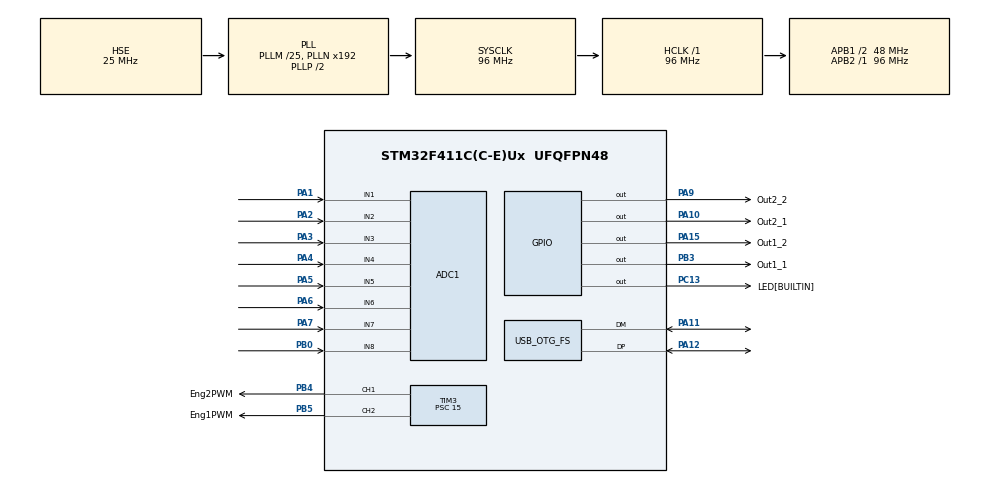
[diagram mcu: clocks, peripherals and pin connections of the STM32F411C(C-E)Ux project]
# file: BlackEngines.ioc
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ADC1.Channel-0\#ChannelRegularConversion=ADC_CHANNEL_1
ADC1.NbrOfConversionFlag=1
ADC1.Rank-0\#ChannelRegularConversion=1
ADC1.SamplingTime-0\#ChannelRegularConversion=ADC_SAMPLETIME_3CYCLES
ADC1.master=1
Mcu.Family=STM32F4
Mcu.Name=STM32F411C(C-E)Ux
Mcu.Package=UFQFPN48
NVIC.ADC_IRQn=true\:0\:0\:false\:false\:true\:true\:true\:true
NVIC.OTG_FS_IRQn=true\:0\:0\:false\:false\:true\:false\:true\:true
NVIC.PriorityGroup=NVIC_PRIORITYGROUP_4
NVIC.TIM1_TRG_COM_TIM11_IRQn=true\:0\:0\:false\:false\:true\:true\:true\:true
NVIC.TIM3_IRQn=true\:0\:0\:false\:false\:true\:true\:true\:true
PA1.Signal=ADCx_IN1
PA10.GPIO_Label=Out2_1
PA10.Signal=GPIO_Output
PA11.Mode=Device_Only
PA11.Signal=USB_OTG_FS_DM
PA12.Mode=Device_Only
PA12.Signal=USB_OTG_FS_DP
PA13.Mode=Serial_Wire
PA13.Signal=SYS_JTMS-SWDIO
PA14.Mode=Serial_Wire
PA14.Signal=SYS_JTCK-SWCLK
PA15.GPIO_Label=Out1_2
PA15.Signal=GPIO_Output
PA2.Signal=ADCx_IN2
PA3.Signal=ADCx_IN3
PA4.Signal=ADCx_IN4
PA5.Signal=ADCx_IN5
PA6.Signal=ADCx_IN6
PA7.Signal=ADCx_IN7
PA9.GPIO_Label=Out2_2
PA9.Signal=GPIO_Output
PB0.Signal=ADCx_IN8
PB3.GPIO_Label=Out1_1
PB3.Signal=GPIO_Output
PB4.GPIO_Label=Eng2PWM
PB4.Signal=S_TIM3_CH1
PB5.GPIO_Label=Eng1PWM
PB5.Signal=S_TIM3_CH2
PC13-ANTI_TAMP.GPIO_Label=LED[BUILTIN]
PC13-ANTI_TAMP.Signal=GPIO_Output
PC14-OSC32_IN.Mode=LSE-External-Oscillator
PC14-OSC32_IN.Signal=RCC_OSC32_IN
PC15-OSC32_OUT.Mode=LSE-External-Oscillator
PC15-OSC32_OUT.Signal=RCC_OSC32_OUT
PH0\ -\ OSC_IN.Mode=HSE-External-Oscillator
PH0\ -\ OSC_IN.Signal=RCC_OSC_IN
PH1\ -\ OSC_OUT.Mode=HSE-External-Oscillator
PH1\ -\ OSC_OUT.Signal=RCC_OSC_OUT
ProjectManager.HeapSize=0x200
ProjectManager.StackSize=0x400
ProjectManager.TargetToolchain=STM32CubeIDE
RCC.48MHZClocksFreq_Value=48000000
RCC.AHBFreq_Value=96000000
RCC.APB1CLKDivider=RCC_HCLK_DIV2
RCC.APB1Freq_Value=48000000
RCC.APB1TimFreq_Value=96000000
RCC.APB2Freq_Value=96000000
RCC.APB2TimFreq_Value=96000000
RCC.CortexFreq_Value=96000000
RCC.HCLKFreq_Value=96000000
RCC.HSE_VALUE=25000000
RCC.HSI_VALUE=16000000
RCC.PLLM=25
RCC.SYSCLKFreq_VALUE=96000000
RCC.SYSCLKSource=RCC_SYSCLKSOURCE_PLLCLK
RCC.VCOOutputFreq_Value=192000000
SH.ADCx_IN1.0=ADC1_IN1,IN1
SH.ADCx_IN2.0=ADC1_IN2,IN2
SH.ADCx_IN3.0=ADC1_IN3,IN3
SH.ADCx_IN4.0=ADC1_IN4,IN4
SH.ADCx_IN5.0=ADC1_IN5,IN5
SH.ADCx_IN6.0=ADC1_IN6,IN6
SH.ADCx_IN7.0=ADC1_IN7,IN7
SH.ADCx_IN8.0=ADC1_IN8,IN8
SH.S_TIM3_CH1.0=TIM3_CH1,PWM Generation1 CH1
SH.S_TIM3_CH2.0=TIM3_CH2,PWM Generation2 CH2
TIM11.Period=9999
TIM11.Prescaler=95
TIM3.Channel-PWM\ Generation1\ CH1=TIM_CHANNEL_1
TIM3.Channel-PWM\ Generation2\ CH2=TIM_CHANNEL_2
TIM3.OCPolarity_1=TIM_OCPOLARITY_HIGH
TIM3.OCPolarity_2=TIM_OCPOLARITY_HIGH
TIM3.Period=59999
TIM3.Prescaler=15
USB_DEVICE.APP_RX_DATA_SIZE=512
USB_DEVICE.APP_TX_DATA_SIZE=512
USB_DEVICE.CLASS_NAME_FS=CDC
USB_DEVICE.VirtualMode=Cdc
USB_DEVICE.VirtualModeFS=Cdc_FS
USB_OTG_FS.VirtualMode=Device_Only
VP_TIM11_VS_ClockSourceINT.Mode=Enable_Timer
VP_TIM3_VS_ClockSourceINT.Mode=Internal
VP_USB_DEVICE_VS_USB_DEVICE_CDC_FS.Mode=CDC_FS
board=custom

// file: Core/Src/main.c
/* USER CODE BEGIN Header */
/**
  ******************************************************************************
  * @file           : main.c
  * @brief          : Main program body
  ******************************************************************************
  * @attention
  *
  * Copyright (c) 2025 STMicroelectronics.
  * All rights reserved.
  *
  * This software is licensed under terms that can be found in the LICENSE file
  * in the root directory of this software component.
  * If no LICENSE file comes with this software, it is provided AS-IS.
  *
  ******************************************************************************
  */
/* USER CODE END Header */
#include "main.h"
#include "usb_device.h"

/* USER CODE BEGIN Includes */
#include "UnerProtocol.h"
#include "engines.h"
#include "Utilities.h"
/* USER CODE END Includes */

/* USER CODE BEGIN PD */
#define NUM_CHANNELS 8
#define RINGBUFFER 256
#define IS10MS myFlags.individualFlags.bit1
/* USER CODE END PD */

ADC_HandleTypeDef hadc1;

TIM_HandleTypeDef htim3;
TIM_HandleTypeDef htim11;

/* USER CODE BEGIN PV */
_sDato datosComSerie;
uint16_t adcBuffer[NUM_CHANNELS];
_bFlags myFlags;
_sEng motorL,motorR;
/* USER CODE END PV */

void SystemClock_Config(void);
static void MX_GPIO_Init(void);
static void MX_TIM3_Init(void);
static void MX_TIM11_Init(void);
static void MX_ADC1_Init(void);
/* USER CODE BEGIN PFP */
uint8_t CDC_Transmit_FS(uint8_t *buf, uint16_t leng);  // Envia una letra
void CDC_AttachRxData(void (*ptrRxAttach)(uint8_t *buf, uint16_t len));
void HAL_ADC_ConvCpltCallback(ADC_HandleTypeDef* hadc);
void HAL_TIM_PeriodElapsedCallback(TIM_HandleTypeDef *htim);
/* USER CODE END PFP */

/* USER CODE BEGIN 0 */
void HAL_ADC_ConvCpltCallback(ADC_HandleTypeDef* hadc){

	uint8_t u=0;
	char palabra[18];

	for(u=0;u<NUM_CHANNELS;u++){

//		casts.u16[0]=adcBuffer[u];
		sprintf(&palabra[0],"Channel %d:%i\n",u,adcBuffer[u]);
//		memcpy(datosComSerie.bufferTx,palabra,sizeof(palabra));
//		datosComSerie.indexWriteTx  += sizeof(palabra);
	}
	HAL_GPIO_TogglePin(LED_GPIO_Port, LED_Pin);
}

void HAL_TIM_PeriodElapsedCallback(TIM_HandleTypeDef *htim){
	if (htim->Instance == TIM11) {
		IS10MS = TRUE;
	}
}
/* USER CODE END 0 */

int main(void)
{

  /* USER CODE BEGIN 1 */
	uint8_t counter=0;
	uint8_t DMAcounter=0;
  /* USER CODE END 1 */

  /* MCU Configuration--------------------------------------------------------*/

  /* Reset of all peripherals, Initializes the Flash interface and the Systick. */
  HAL_Init();

  /* USER CODE BEGIN Init */
   CDC_AttachRxData(&UP_datafromUSB);
   myFlags.allFlags=0;
   UP_initprotocol(&datosComSerie,(uint8_t)RINGBUFFER);
  /* USER CODE END Init */

  /* Configure the system clock */
  SystemClock_Config();

  /* Initialize all configured peripherals */
  MX_GPIO_Init();
  MX_USB_DEVICE_Init();
  MX_TIM3_Init();
  MX_TIM11_Init();
  MX_ADC1_Init();
  /* USER CODE BEGIN 2 */
  HAL_TIM_Base_Start_IT(&htim3);
  HAL_TIM_Base_Start_IT(&htim11);

  HAL_TIM_PWM_Start(&htim3, TIM_CHANNEL_2);
  HAL_TIM_PWM_Start(&htim3, TIM_CHANNEL_1);

  HAL_GPIO_WritePin(Eng1PWM_GPIO_Port, Eng1PWM_Pin, 0);
  HAL_GPIO_WritePin(Eng2PWM_GPIO_Port, Eng2PWM_Pin, 0);
  /* USER CODE END 2 */

  /* Infinite loop */
  while (1)
  {

    /* USER CODE BEGIN 3 */
	UP_comunicationsTask(&datosComSerie);
  }
  /* USER CODE END 3 */
}

void SystemClock_Config(void)
{
  RCC_OscInitTypeDef RCC_OscInitStruct = {0};
  RCC_ClkInitTypeDef RCC_ClkInitStruct = {0};

  /** Configure the main internal regulator output voltage
  */
  __HAL_RCC_PWR_CLK_ENABLE();
  __HAL_PWR_VOLTAGESCALING_CONFIG(PWR_REGULATOR_VOLTAGE_SCALE1);

  /** Initializes the RCC Oscillators according to the specified parameters
  * in the RCC_OscInitTypeDef structure.
  */
  RCC_OscInitStruct.OscillatorType = RCC_OSCILLATORTYPE_HSE;
  RCC_OscInitStruct.HSEState = RCC_HSE_ON;
  RCC_OscInitStruct.PLL.PLLState = RCC_PLL_ON;
  RCC_OscInitStruct.PLL.PLLSource = RCC_PLLSOURCE_HSE;
  RCC_OscInitStruct.PLL.PLLM = 25;
  RCC_OscInitStruct.PLL.PLLN = 192;
  RCC_OscInitStruct.PLL.PLLP = RCC_PLLP_DIV2;
  RCC_OscInitStruct.PLL.PLLQ = 4;
  if (HAL_RCC_OscConfig(&RCC_OscInitStruct) != HAL_OK)
  {
    Error_Handler();
  }

  /** Initializes the CPU, AHB and APB buses clocks
  */
  RCC_ClkInitStruct.ClockType = RCC_CLOCKTYPE_HCLK|RCC_CLOCKTYPE_SYSCLK
                              |RCC_CLOCKTYPE_PCLK1|RCC_CLOCKTYPE_PCLK2;
  RCC_ClkInitStruct.SYSCLKSource = RCC_SYSCLKSOURCE_PLLCLK;
  RCC_ClkInitStruct.AHBCLKDivider = RCC_SYSCLK_DIV1;
  RCC_ClkInitStruct.APB1CLKDivider = RCC_HCLK_DIV2;
  RCC_ClkInitStruct.APB2CLKDivider = RCC_HCLK_DIV1;

  if (HAL_RCC_ClockConfig(&RCC_ClkInitStruct, FLASH_LATENCY_3) != HAL_OK)
  {
    Error_Handler();
  }
}

static void MX_ADC1_Init(void)
{

  ADC_ChannelConfTypeDef sConfig = {0};

  /** Configure the global features of the ADC (Clock, Resolution, Data Alignment and number of conversion)
  */
  hadc1.Instance = ADC1;
  hadc1.Init.ClockPrescaler = ADC_CLOCK_SYNC_PCLK_DIV4;
  hadc1.Init.Resolution = ADC_RESOLUTION_12B;
  hadc1.Init.ScanConvMode = DISABLE;
  hadc1.Init.ContinuousConvMode = DISABLE;
  hadc1.Init.DiscontinuousConvMode = DISABLE;
  hadc1.Init.ExternalTrigConvEdge = ADC_EXTERNALTRIGCONVEDGE_NONE;
  hadc1.Init.ExternalTrigConv = ADC_SOFTWARE_START;
  hadc1.Init.DataAlign = ADC_DATAALIGN_RIGHT;
  hadc1.Init.NbrOfConversion = 1;
  hadc1.Init.DMAContinuousRequests = DISABLE;
  hadc1.Init.EOCSelection = ADC_EOC_SINGLE_CONV;
  if (HAL_ADC_Init(&hadc1) != HAL_OK)
  {
    Error_Handler();
  }

  /** Configure for the selected ADC regular channel its corresponding rank in the sequencer and its sample time.
  */
  sConfig.Channel = ADC_CHANNEL_1;
  sConfig.Rank = 1;
  sConfig.SamplingTime = ADC_SAMPLETIME_3CYCLES;
  if (HAL_ADC_ConfigChannel(&hadc1, &sConfig) != HAL_OK)
  {
    Error_Handler();
  }

}

static void MX_TIM3_Init(void)
{

  TIM_ClockConfigTypeDef sClockSourceConfig = {0};
  TIM_MasterConfigTypeDef sMasterConfig = {0};
  TIM_OC_InitTypeDef sConfigOC = {0};

  htim3.Instance = TIM3;
  htim3.Init.Prescaler = 100;
  htim3.Init.CounterMode = TIM_COUNTERMODE_UP;
  htim3.Init.Period = 9599;
  htim3.Init.ClockDivision = TIM_CLOCKDIVISION_DIV1;
  htim3.Init.AutoReloadPreload = TIM_AUTORELOAD_PRELOAD_DISABLE;
  if (HAL_TIM_Base_Init(&htim3) != HAL_OK)
  {
    Error_Handler();
  }
  sClockSourceConfig.ClockSource = TIM_CLOCKSOURCE_INTERNAL;
  if (HAL_TIM_ConfigClockSource(&htim3, &sClockSourceConfig) != HAL_OK)
  {
    Error_Handler();
  }
  if (HAL_TIM_PWM_Init(&htim3) != HAL_OK)
  {
    Error_Handler();
  }
  sMasterConfig.MasterOutputTrigger = TIM_TRGO_RESET;
  sMasterConfig.MasterSlaveMode = TIM_MASTERSLAVEMODE_DISABLE;
  if (HAL_TIMEx_MasterConfigSynchronization(&htim3, &sMasterConfig) != HAL_OK)
  {
    Error_Handler();
  }
  sConfigOC.OCMode = TIM_OCMODE_PWM1;
  sConfigOC.Pulse = 0;
  sConfigOC.OCPolarity = TIM_OCPOLARITY_LOW;
  sConfigOC.OCFastMode = TIM_OCFAST_DISABLE;
  if (HAL_TIM_PWM_ConfigChannel(&htim3, &sConfigOC, TIM_CHANNEL_1) != HAL_OK)
  {
    Error_Handler();
  }
  if (HAL_TIM_PWM_ConfigChannel(&htim3, &sConfigOC, TIM_CHANNEL_2) != HAL_OK)
  {
    Error_Handler();
  }
  HAL_TIM_MspPostInit(&htim3);

}

static void MX_TIM11_Init(void)
{

  htim11.Instance = TIM11;
  htim11.Init.Prescaler = 19200;
  htim11.Init.CounterMode = TIM_COUNTERMODE_UP;
  htim11.Init.Period = 49999;
  htim11.Init.ClockDivision = TIM_CLOCKDIVISION_DIV1;
  htim11.Init.AutoReloadPreload = TIM_AUTORELOAD_PRELOAD_DISABLE;
  if (HAL_TIM_Base_Init(&htim11) != HAL_OK)
  {
    Error_Handler();
  }

}

static void MX_GPIO_Init(void)
{
  GPIO_InitTypeDef GPIO_InitStruct = {0};

  /* GPIO Ports Clock Enable */
  __HAL_RCC_GPIOC_CLK_ENABLE();
  __HAL_RCC_GPIOH_CLK_ENABLE();
  __HAL_RCC_GPIOA_CLK_ENABLE();
  __HAL_RCC_GPIOB_CLK_ENABLE();

  /*Configure GPIO pin Output Level */
  HAL_GPIO_WritePin(LED_GPIO_Port, LED_Pin, GPIO_PIN_RESET);

  /*Configure GPIO pin Output Level */
  HAL_GPIO_WritePin(GPIOA, Out2_2_Pin|Out2_1_Pin|Out1_2_Pin, GPIO_PIN_RESET);

  /*Configure GPIO pin Output Level */
  HAL_GPIO_WritePin(Out1_1_GPIO_Port, Out1_1_Pin, GPIO_PIN_RESET);

  /*Configure GPIO pin : LED_Pin */
  GPIO_InitStruct.Pin = LED_Pin;
  GPIO_InitStruct.Mode = GPIO_MODE_OUTPUT_PP;
  GPIO_InitStruct.Pull = GPIO_NOPULL;
  GPIO_InitStruct.Speed = GPIO_SPEED_FREQ_LOW;
  HAL_GPIO_Init(LED_GPIO_Port, &GPIO_InitStruct);

  /*Configure GPIO pins : Out2_2_Pin Out2_1_Pin Out1_2_Pin */
  GPIO_InitStruct.Pin = Out2_2_Pin|Out2_1_Pin|Out1_2_Pin;
  GPIO_InitStruct.Mode = GPIO_MODE_OUTPUT_PP;
  GPIO_InitStruct.Pull = GPIO_NOPULL;
  GPIO_InitStruct.Speed = GPIO_SPEED_FREQ_LOW;
  HAL_GPIO_Init(GPIOA, &GPIO_InitStruct);

  /*Configure GPIO pin : Out1_1_Pin */
  GPIO_InitStruct.Pin = Out1_1_Pin;
  GPIO_InitStruct.Mode = GPIO_MODE_OUTPUT_PP;
  GPIO_InitStruct.Pull = GPIO_NOPULL;
  GPIO_InitStruct.Speed = GPIO_SPEED_FREQ_LOW;
  HAL_GPIO_Init(Out1_1_GPIO_Port, &GPIO_InitStruct);

}

/* USER CODE BEGIN 4 */
void UP_comunicationsTask(_sDato *datosCom){

	if(datosCom->indexReadRx!=datosCom->indexWriteRx ){
		UP_decodeHeader(datosCom);
		datosCom->indexReadRx=datosCom->indexWriteRx;
	}

	if(datosCom->indexReadTx!=datosCom->indexWriteTx ){

		if(datosCom->indexWriteTx > datosCom->indexReadTx){
				datosCom->bytesTosend = datosCom->indexWriteTx - datosCom->indexReadTx;
		    }else{
		    	datosCom->bytesTosend =  sizeof(datosCom->bufferRx) - datosCom->indexReadTx;
		    }
		    if(CDC_Transmit_FS(&datosCom->bufferTx[datosCom->indexReadTx], datosCom->bytesTosend) == USBD_OK){
		    	datosCom->indexReadTx += datosCom->bytesTosend;
		    }
	}
}
/* USER CODE END 4 */

void Error_Handler(void)
{
  __disable_irq();
  while (1)
  {
  }
}
